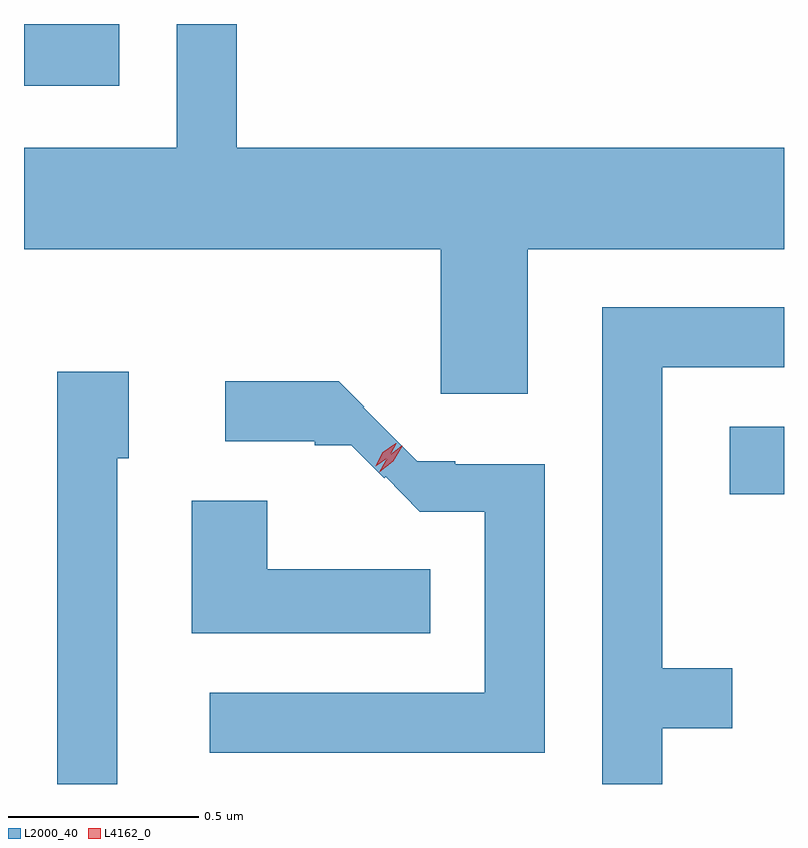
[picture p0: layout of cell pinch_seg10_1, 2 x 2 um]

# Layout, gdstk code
import gdstk
lib = gdstk.Library(unit=1e-6, precision=1e-09)
def R(c, l, rs):  # rectangles x0, y0, x1, y1
    for r in rs: c.add(gdstk.rectangle(r[:2], r[2:], *l))
def P(c, l, *ps):  # polygons
    for p in ps: c.add(gdstk.Polygon(p, *l))
L2000_40 = (2000, 40)
L4162_0 = (4162, 0)

pinch_seg10_1 = lib.new_cell('pinch_seg10_1')
R(pinch_seg10_1, L2000_40, [(1092.871,2204.291,1093.014,2204.469), (1091.014,2205.366,1091.264,2205.529)])
P(pinch_seg10_1, L2000_40, [(1092.339,2204.936),(1093.014,2204.936),(1093.014,2205.204),(1091.574,2205.204),(1091.574,2205.529),(1091.416,2205.529),(1091.416,2205.204),(1091.014,2205.204),(1091.014,2204.936),(1092.111,2204.936),(1092.111,2204.556),(1092.339,2204.556)],
  [(1092.694,2203.676),(1092.878,2203.676),(1092.878,2203.834),(1092.694,2203.834),(1092.694,2204.626),(1093.014,2204.626),(1093.014,2204.784),(1092.536,2204.784),(1092.536,2203.529),(1092.694,2203.529)],
  [(1091.259,2204.386),(1091.289,2204.386),(1091.289,2204.614),(1091.101,2204.614),(1091.101,2203.529),(1091.259,2203.529)],
  [(1092.384,2204.37),(1092.149,2204.37),(1092.149,2204.379),(1092.049,2204.379),(1091.907,2204.52),(1091.909,2204.522),(1091.842,2204.589),(1091.543,2204.589),(1091.543,2204.431),(1091.779,2204.431),(1091.779,2204.42),(1091.875,2204.42),(1091.962,2204.333),(1091.966,2204.337),(1092.056,2204.246),(1092.226,2204.246),(1092.226,2203.769),(1091.503,2203.769),(1091.503,2203.611),(1092.384,2203.611)],
  [(1092.083,2204.094),(1091.654,2204.094),(1091.654,2204.274),(1091.456,2204.274),(1091.456,2203.926),(1092.083,2203.926)])
P(pinch_seg10_1, L4162_0, [(1091.949,2204.35),(1091.949,2204.35),(1091.972,2204.391),(1092.008,2204.419),(1092.009,2204.419),(1092.009,2204.418),(1091.986,2204.378),(1091.949,2204.35)],
  [(1091.939,2204.365),(1091.939,2204.366),(1091.958,2204.402),(1091.992,2204.426),(1091.993,2204.426),(1091.993,2204.425),(1091.974,2204.389),(1091.94,2204.365)])

lib.write_gds('pinch_seg10_1.gds')
